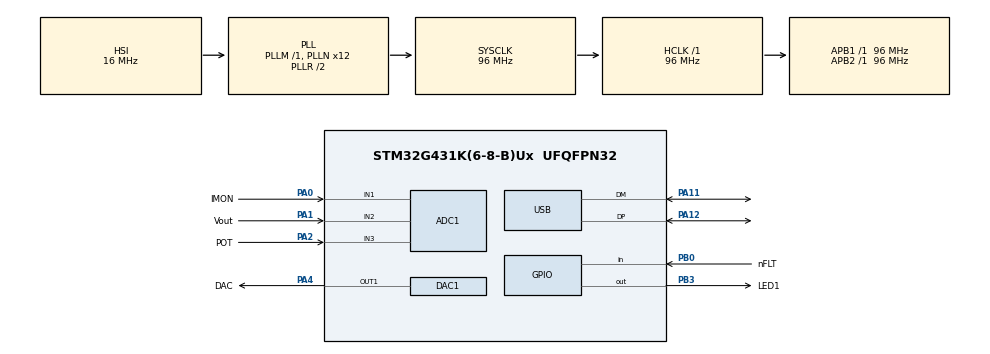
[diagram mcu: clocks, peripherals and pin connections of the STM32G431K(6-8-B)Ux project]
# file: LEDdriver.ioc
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ADC1.Channel-0\#ChannelRegularConversion=ADC_CHANNEL_1
ADC1.Channel-2\#ChannelRegularConversion=ADC_CHANNEL_2
ADC1.Channel-3\#ChannelRegularConversion=ADC_CHANNEL_3
ADC1.ClockPrescaler=ADC_CLOCK_SYNC_PCLK_DIV1
ADC1.NbrOfConversion=4
ADC1.NbrOfConversionFlag=1
ADC1.OffsetNumber-0\#ChannelRegularConversion=ADC_OFFSET_NONE
ADC1.OffsetNumber-2\#ChannelRegularConversion=ADC_OFFSET_NONE
ADC1.OffsetNumber-3\#ChannelRegularConversion=ADC_OFFSET_NONE
ADC1.OversamplingMode=DISABLE
ADC1.Rank-0\#ChannelRegularConversion=2
ADC1.Rank-2\#ChannelRegularConversion=3
ADC1.Rank-3\#ChannelRegularConversion=4
ADC1.SamplingTime-0\#ChannelRegularConversion=ADC_SAMPLETIME_247CYCLES_5
ADC1.SamplingTime-2\#ChannelRegularConversion=ADC_SAMPLETIME_640CYCLES_5
ADC1.SamplingTime-3\#ChannelRegularConversion=ADC_SAMPLETIME_640CYCLES_5
ADC1.master=1
Mcu.Family=STM32G4
Mcu.Name=STM32G431K(6-8-B)Ux
Mcu.Package=UFQFPN32
NVIC.PriorityGroup=NVIC_PRIORITYGROUP_4
NVIC.USB_LP_IRQn=true\:0\:0\:false\:false\:true\:false\:true\:true
PA0.GPIO_Label=IMON
PA0.GPIO_Mode=GPIO_MODE_ANALOG
PA0.GPIO_Pd=GPIO_NOPULL
PA0.Mode=IN1-Single-Ended
PA0.Signal=ADC1_IN1
PA1.GPIO_Label=Vout
PA1.Mode=IN2-Single-Ended
PA1.Signal=ADC1_IN2
PA11.Mode=Device
PA11.Signal=USB_DM
PA12.Mode=Device
PA12.Signal=USB_DP
PA13.Mode=Serial_Wire
PA13.Signal=SYS_JTMS-SWDIO
PA14.Mode=Serial_Wire
PA14.Signal=SYS_JTCK-SWCLK
PA2.GPIO_Label=POT
PA2.GPIO_Mode=GPIO_MODE_ANALOG
PA2.GPIO_Pd=GPIO_NOPULL
PA2.Mode=IN3-Single-Ended
PA2.Signal=ADC1_IN3
PA4.GPIO_Label=DAC
PA4.Signal=COMP_DAC11_group
PB0.GPIO_Label=nFLT
PB0.GPIO_PuPd=GPIO_NOPULL
PB0.Signal=GPIO_Input
PB3.GPIO_Label=LED1
PB3.PinState=GPIO_PIN_RESET
PB3.Signal=GPIO_Output
ProjectManager.HeapSize=0x200
ProjectManager.StackSize=0x400
ProjectManager.TargetToolchain=STM32CubeIDE
RCC.ADC12Freq_Value=96000000
RCC.AHBFreq_Value=96000000
RCC.APB1Freq_Value=96000000
RCC.APB1TimFreq_Value=96000000
RCC.APB2Freq_Value=96000000
RCC.APB2TimFreq_Value=96000000
RCC.CK48CLockSelection=RCC_USBCLKSOURCE_HSI48
RCC.CortexFreq_Value=96000000
RCC.EXTERNAL_CLOCK_VALUE=12288000
RCC.HCLKFreq_Value=96000000
RCC.HSE_VALUE=8000000
RCC.HSI48_VALUE=48000000
RCC.HSI_VALUE=16000000
RCC.LSE_VALUE=32768
RCC.PLLN=12
RCC.PLLQ=RCC_PLLQ_DIV4
RCC.SYSCLKFreq_VALUE=96000000
RCC.SYSCLKSource=RCC_SYSCLKSOURCE_PLLCLK
RCC.USBFreq_Value=48000000
RCC.VCOOutputFreq_Value=192000000
SH.COMP_DAC11_group.0=DAC1_OUT1,DAC_OUT1
USB_DEVICE.CLASS_NAME_FS=CDC
USB_DEVICE.USBD_SELF_POWERED=0
USB_DEVICE.VirtualMode=Cdc
USB_DEVICE.VirtualModeFS=Cdc_FS
VP_SYS_VS_DBSignals.Mode=DisableDeadBatterySignals
VP_USB_DEVICE_VS_USB_DEVICE_CDC_FS.Mode=CDC_FS
board=custom

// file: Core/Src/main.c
/* USER CODE BEGIN Header */
/**
  ******************************************************************************
  * @file           : main.c
  * @brief          : Main program body
  ******************************************************************************
  * @attention
  *
  * Copyright (c) 2025 STMicroelectronics.
  * All rights reserved.
  *
  * This software is licensed under terms that can be found in the LICENSE file
  * in the root directory of this software component.
  * If no LICENSE file comes with this software, it is provided AS-IS.
  *
  ******************************************************************************
  */
/* USER CODE END Header */
#include "main.h"
#include "usb_device.h"

ADC_HandleTypeDef hadc1;

DAC_HandleTypeDef hdac1;

/* USER CODE BEGIN PV */

#define RCS_VALUE 0.33f
#define R1 300000.0f   // 300k
#define R2 10000.0f    // 10k
#define VOUT_CAL_FACTOR 1.182f

uint32_t pot_value = 0;
float pot_voltage = 0.0f;

uint32_t vout_raw = 0;
float vout_voltage = 0.0f;

uint32_t imon_raw = 0;
float imon_current = 0.0f;
/* USER CODE END PV */

void SystemClock_Config(void);
static void MX_GPIO_Init(void);
static void MX_ADC1_Init(void);
static void MX_DAC1_Init(void);

int main(void)
{

  /* MCU Configuration--------------------------------------------------------*/

  /* Reset of all peripherals, Initializes the Flash interface and the Systick. */
  HAL_Init();

  /* Configure the system clock */
  SystemClock_Config();

  /* Initialize all configured peripherals */
  MX_USB_Device_Init();
  MX_GPIO_Init();
  MX_ADC1_Init();
  MX_DAC1_Init();
  /* USER CODE BEGIN 2 */
  HAL_DAC_Start(&hdac1, DAC_CHANNEL_1);

  /* USER CODE END 2 */

  /* Infinite loop */
  /* USER CODE BEGIN WHILE */
  while (1)
  {

	  HAL_ADC_Start(&hadc1);

	      // IMON (PA0)
	      HAL_ADC_PollForConversion(&hadc1, HAL_MAX_DELAY);
	      imon_raw = HAL_ADC_GetValue(&hadc1);
	      float v_imon = (imon_raw * 3.3f) / 4095.0f;
	      imon_current = v_imon / (14.0f * RCS_VALUE);

	      // VOUT (PA1)
	      HAL_ADC_PollForConversion(&hadc1, HAL_MAX_DELAY);
	      vout_raw = HAL_ADC_GetValue(&hadc1);
	      float v_vout_scaled = (vout_raw * 3.3f) / 4095.0f;
	      vout_voltage = (v_vout_scaled / 0.03226f) * VOUT_CAL_FACTOR;

	      // POT (PA2)
	      HAL_ADC_PollForConversion(&hadc1, HAL_MAX_DELAY);
	      pot_value = HAL_ADC_GetValue(&hadc1);
	      pot_voltage = (pot_value * 3.3f) / 4095.0f;

	      // Send POT value to DAC (12-bit right aligned)
	//      HAL_DAC_SetValue(&hdac1, DAC_CHANNEL_1, DAC_ALIGN_12B_R, pot_value);
	   //   HAL_DAC_SetValue(&hdac1, DAC_CHANNEL_1, DAC_ALIGN_12B_R, 2600);

	      HAL_Delay(10);
    /* USER CODE END WHILE */

  }
}

void SystemClock_Config(void)
{
  RCC_OscInitTypeDef RCC_OscInitStruct = {0};
  RCC_ClkInitTypeDef RCC_ClkInitStruct = {0};

  /** Configure the main internal regulator output voltage
  */
  HAL_PWREx_ControlVoltageScaling(PWR_REGULATOR_VOLTAGE_SCALE1);

  /** Initializes the RCC Oscillators according to the specified parameters
  * in the RCC_OscInitTypeDef structure.
  */
  RCC_OscInitStruct.OscillatorType = RCC_OSCILLATORTYPE_HSI|RCC_OSCILLATORTYPE_HSI48;
  RCC_OscInitStruct.HSIState = RCC_HSI_ON;
  RCC_OscInitStruct.HSICalibrationValue = RCC_HSICALIBRATION_DEFAULT;
  RCC_OscInitStruct.HSI48State = RCC_HSI48_ON;
  RCC_OscInitStruct.PLL.PLLState = RCC_PLL_ON;
  RCC_OscInitStruct.PLL.PLLSource = RCC_PLLSOURCE_HSI;
  RCC_OscInitStruct.PLL.PLLM = RCC_PLLM_DIV1;
  RCC_OscInitStruct.PLL.PLLN = 12;
  RCC_OscInitStruct.PLL.PLLP = RCC_PLLP_DIV2;
  RCC_OscInitStruct.PLL.PLLQ = RCC_PLLQ_DIV4;
  RCC_OscInitStruct.PLL.PLLR = RCC_PLLR_DIV2;
  if (HAL_RCC_OscConfig(&RCC_OscInitStruct) != HAL_OK)
  {
    Error_Handler();
  }

  /** Initializes the CPU, AHB and APB buses clocks
  */
  RCC_ClkInitStruct.ClockType = RCC_CLOCKTYPE_HCLK|RCC_CLOCKTYPE_SYSCLK
                              |RCC_CLOCKTYPE_PCLK1|RCC_CLOCKTYPE_PCLK2;
  RCC_ClkInitStruct.SYSCLKSource = RCC_SYSCLKSOURCE_PLLCLK;
  RCC_ClkInitStruct.AHBCLKDivider = RCC_SYSCLK_DIV1;
  RCC_ClkInitStruct.APB1CLKDivider = RCC_HCLK_DIV1;
  RCC_ClkInitStruct.APB2CLKDivider = RCC_HCLK_DIV1;

  if (HAL_RCC_ClockConfig(&RCC_ClkInitStruct, FLASH_LATENCY_3) != HAL_OK)
  {
    Error_Handler();
  }
}

static void MX_ADC1_Init(void)
{

  ADC_MultiModeTypeDef multimode = {0};
  ADC_ChannelConfTypeDef sConfig = {0};

  /** Common config
  */
  hadc1.Instance = ADC1;
  hadc1.Init.ClockPrescaler = ADC_CLOCK_SYNC_PCLK_DIV1;
  hadc1.Init.Resolution = ADC_RESOLUTION_12B;
  hadc1.Init.DataAlign = ADC_DATAALIGN_RIGHT;
  hadc1.Init.GainCompensation = 0;
  hadc1.Init.ScanConvMode = ADC_SCAN_ENABLE;
  hadc1.Init.EOCSelection = ADC_EOC_SINGLE_CONV;
  hadc1.Init.LowPowerAutoWait = DISABLE;
  hadc1.Init.ContinuousConvMode = DISABLE;
  hadc1.Init.NbrOfConversion = 4;
  hadc1.Init.DiscontinuousConvMode = DISABLE;
  hadc1.Init.ExternalTrigConv = ADC_SOFTWARE_START;
  hadc1.Init.ExternalTrigConvEdge = ADC_EXTERNALTRIGCONVEDGE_NONE;
  hadc1.Init.DMAContinuousRequests = DISABLE;
  hadc1.Init.Overrun = ADC_OVR_DATA_PRESERVED;
  hadc1.Init.OversamplingMode = DISABLE;
  if (HAL_ADC_Init(&hadc1) != HAL_OK)
  {
    Error_Handler();
  }

  /** Configure the ADC multi-mode
  */
  multimode.Mode = ADC_MODE_INDEPENDENT;
  if (HAL_ADCEx_MultiModeConfigChannel(&hadc1, &multimode) != HAL_OK)
  {
    Error_Handler();
  }

  /** Configure Regular Channel
  */
  sConfig.Channel = ADC_CHANNEL_1;
  sConfig.Rank = ADC_REGULAR_RANK_2;
  sConfig.SamplingTime = ADC_SAMPLETIME_247CYCLES_5;
  sConfig.SingleDiff = ADC_SINGLE_ENDED;
  sConfig.OffsetNumber = ADC_OFFSET_NONE;
  sConfig.Offset = 0;
  if (HAL_ADC_ConfigChannel(&hadc1, &sConfig) != HAL_OK)
  {
    Error_Handler();
  }

  /** Configure Regular Channel
  */
  sConfig.Channel = ADC_CHANNEL_2;
  sConfig.Rank = ADC_REGULAR_RANK_3;
  sConfig.SamplingTime = ADC_SAMPLETIME_640CYCLES_5;
  if (HAL_ADC_ConfigChannel(&hadc1, &sConfig) != HAL_OK)
  {
    Error_Handler();
  }

  /** Configure Regular Channel
  */
  sConfig.Channel = ADC_CHANNEL_3;
  sConfig.Rank = ADC_REGULAR_RANK_4;
  if (HAL_ADC_ConfigChannel(&hadc1, &sConfig) != HAL_OK)
  {
    Error_Handler();
  }

}

static void MX_DAC1_Init(void)
{

  DAC_ChannelConfTypeDef sConfig = {0};

  /** DAC Initialization
  */
  hdac1.Instance = DAC1;
  if (HAL_DAC_Init(&hdac1) != HAL_OK)
  {
    Error_Handler();
  }

  /** DAC channel OUT1 config
  */
  sConfig.DAC_HighFrequency = DAC_HIGH_FREQUENCY_INTERFACE_MODE_AUTOMATIC;
  sConfig.DAC_DMADoubleDataMode = DISABLE;
  sConfig.DAC_SignedFormat = DISABLE;
  sConfig.DAC_SampleAndHold = DAC_SAMPLEANDHOLD_DISABLE;
  sConfig.DAC_Trigger = DAC_TRIGGER_NONE;
  sConfig.DAC_Trigger2 = DAC_TRIGGER_NONE;
  sConfig.DAC_OutputBuffer = DAC_OUTPUTBUFFER_ENABLE;
  sConfig.DAC_ConnectOnChipPeripheral = DAC_CHIPCONNECT_EXTERNAL;
  sConfig.DAC_UserTrimming = DAC_TRIMMING_FACTORY;
  if (HAL_DAC_ConfigChannel(&hdac1, &sConfig, DAC_CHANNEL_1) != HAL_OK)
  {
    Error_Handler();
  }

}

static void MX_GPIO_Init(void)
{
  GPIO_InitTypeDef GPIO_InitStruct = {0};

  /* GPIO Ports Clock Enable */
  __HAL_RCC_GPIOA_CLK_ENABLE();
  __HAL_RCC_GPIOB_CLK_ENABLE();

  /*Configure GPIO pin Output Level */
  HAL_GPIO_WritePin(LED1_GPIO_Port, LED1_Pin, GPIO_PIN_RESET);

  /*Configure GPIO pin : nFLT_Pin */
  GPIO_InitStruct.Pin = nFLT_Pin;
  GPIO_InitStruct.Mode = GPIO_MODE_INPUT;
  GPIO_InitStruct.Pull = GPIO_NOPULL;
  HAL_GPIO_Init(nFLT_GPIO_Port, &GPIO_InitStruct);

  /*Configure GPIO pin : LED1_Pin */
  GPIO_InitStruct.Pin = LED1_Pin;
  GPIO_InitStruct.Mode = GPIO_MODE_OUTPUT_PP;
  GPIO_InitStruct.Pull = GPIO_NOPULL;
  GPIO_InitStruct.Speed = GPIO_SPEED_FREQ_LOW;
  HAL_GPIO_Init(LED1_GPIO_Port, &GPIO_InitStruct);

}

void Error_Handler(void)
{
  __disable_irq();
  while (1)
  {
  }
}
